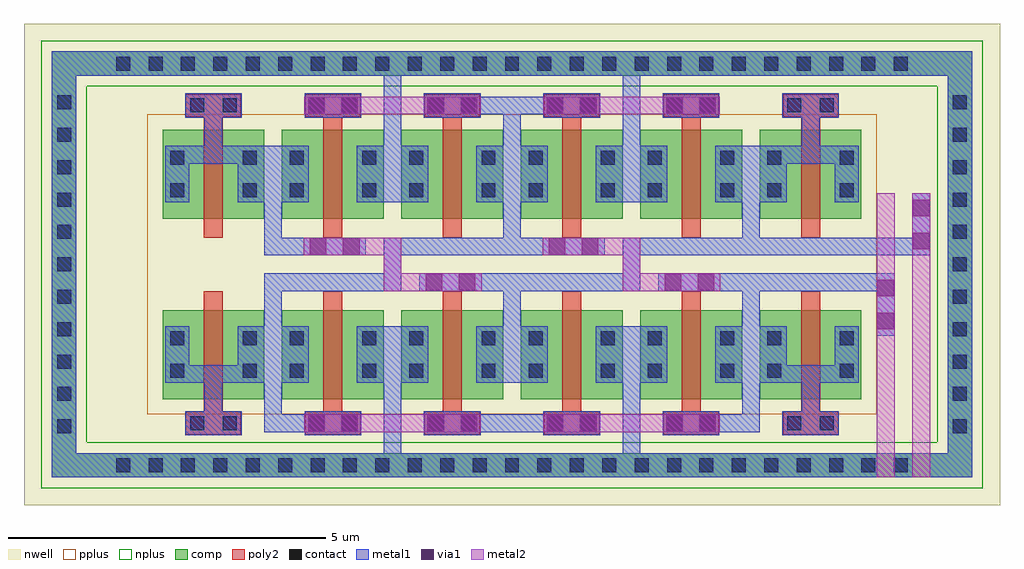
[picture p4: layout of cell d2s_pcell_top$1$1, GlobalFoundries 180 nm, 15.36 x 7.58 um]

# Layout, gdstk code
from math import pi, radians
import gdstk
lib = gdstk.Library(unit=1e-6, precision=5e-09)
def R(c, l, rs):  # rectangles x0, y0, x1, y1
    for r in rs: c.add(gdstk.rectangle(r[:2], r[2:], *l))
def A(c, l, x, y, w, h, nx, ny, dx, dy):  # array of equal rectangles
    R(c, l, [(x+i*dx, y+j*dy, x+i*dx+w, y+j*dy+h) for i in range(nx) for j in range(ny)])
nwell = (21, 0)
comp = (22, 0)
poly2 = (30, 0)
pplus = (31, 0)
nplus = (32, 0)
contact = (33, 0)
metal1 = (34, 0)
via1 = (35, 0)
metal2 = (36, 0)

d2s_pcell_1_1_1_1_1 = lib.new_cell('d2s_pcell_1$1$1$1$1')
R(d2s_pcell_1_1_1_1_1, comp, [(0,0.3,0.46,1.7), (0.46,0.3,1.14,1.7), (1.14,0.3,1.6,1.7)])
R(d2s_pcell_1_1_1_1_1, poly2, [(0.65,0,0.95,2)])
R(d2s_pcell_1_1_1_1_1, contact, [(0.12,0.635,0.34,0.855), (1.26,0.635,1.48,0.855), (0.12,1.145,0.34,1.365), (1.26,1.145,1.48,1.365)])
R(d2s_pcell_1_1_1_1_1, metal1, [(0.04,0.555,0.42,1.445), (1.18,0.555,1.56,1.445)])

d2s_pcell_4_1_1_1 = lib.new_cell('d2s_pcell_4$1$1$1')
A(d2s_pcell_4_1_1_1, poly2, 0.365, 1.9, 0.87, 0.36, 6, 1, 1.88, 0)
R(d2s_pcell_4_1_1_1, contact, [(0.435,1.97,0.655,2.19), (0.945,1.97,1.165,2.19), (2.315,1.97,2.535,2.19), (2.825,1.97,3.045,2.19), (4.195,1.97,4.415,2.19), (4.705,1.97,4.925,2.19), (6.075,1.97,6.295,2.19), (6.585,1.97,6.805,2.19), (7.955,1.97,8.175,2.19), (8.465,1.97,8.685,2.19), (9.835,1.97,10.055,2.19), (10.345,1.97,10.565,2.19)])
A(d2s_pcell_4_1_1_1, metal1, 1.56, 0.555, 0.36, 0.89, 5, 1, 1.88, 0)
A(d2s_pcell_4_1_1_1, metal1, 0.355, 1.89, 0.89, 0.38, 6, 1, 1.88, 0)
R(d2s_pcell_4_1_1_1, via1, [(2.29,1.95,2.55,2.21), (2.81,1.95,3.07,2.21), (4.17,1.95,4.43,2.21), (4.69,1.95,4.95,2.21), (6.05,1.95,6.31,2.21), (6.57,1.95,6.83,2.21), (7.93,1.95,8.19,2.21), (8.45,1.95,8.71,2.21)])
d2s_pcell_4_1_1_1.add(gdstk.FlexPath([(10.2,1.89),(10.2,1.445)], 0.28, ends="flush", simple_path=True, layer=34, datatype=0))  # metal1
d2s_pcell_4_1_1_1.add(gdstk.FlexPath([(9.82,1.305),(10.58,1.305)], 0.28, ends="flush", simple_path=True, layer=34, datatype=0))  # metal1
d2s_pcell_4_1_1_1.add(gdstk.FlexPath([(0.8,1.89),(0.8,1.445)], 0.28, ends="flush", simple_path=True, layer=34, datatype=0))  # metal1
d2s_pcell_4_1_1_1.add(gdstk.FlexPath([(1.18,1.305),(0.42,1.305)], 0.28, ends="flush", simple_path=True, layer=34, datatype=0))  # metal1
d2s_pcell_4_1_1_1.add(gdstk.FlexPath([(5.01,2.08),(2.23,2.08)], 0.28, ends="flush", simple_path=True, layer=36, datatype=0))  # metal2
d2s_pcell_4_1_1_1.add(gdstk.FlexPath([(8.77,2.08),(5.99,2.08)], 0.28, ends="flush", simple_path=True, layer=36, datatype=0))  # metal2
d2s_pcell_4_1_1_1.add(gdstk.Reference(d2s_pcell_1_1_1_1_1, (1.88,0)))
d2s_pcell_4_1_1_1.add(gdstk.Reference(d2s_pcell_1_1_1_1_1, (3.76,0)))
d2s_pcell_4_1_1_1.add(gdstk.Reference(d2s_pcell_1_1_1_1_1, (5.64,0)))
d2s_pcell_4_1_1_1.add(gdstk.Reference(d2s_pcell_1_1_1_1_1, (7.52,0)))
d2s_pcell_4_1_1_1.add(gdstk.Reference(d2s_pcell_1_1_1_1_1, (9.4,0)))
d2s_pcell_4_1_1_1.add(gdstk.Reference(d2s_pcell_1_1_1_1_1, (1.6,0), rotation=pi, x_reflection=True))

d2s_pcell_top_1_1 = lib.new_cell('d2s_pcell_top$1$1')
R(d2s_pcell_top_1_1, nwell, [(0,0,15.36,7.575)])
R(d2s_pcell_top_1_1, pplus, [(1.94,1.43,13.42,6.15)])
A(d2s_pcell_top_1_1, contact, 1.45, 0.52, 0.22, 0.22, 25, 2, 0.51, 6.32)
A(d2s_pcell_top_1_1, contact, 0.52, 1.13, 0.22, 0.22, 1, 11, 0, 0.51)
A(d2s_pcell_top_1_1, contact, 14.62, 1.13, 0.22, 0.22, 1, 11, 0, 0.51)
R(d2s_pcell_top_1_1, via1, [(13.43,2.77,13.69,3.03), (13.43,3.29,13.69,3.55), (6.32,3.38,6.58,3.64), (6.84,3.38,7.1,3.64), (10.08,3.38,10.34,3.64), (10.6,3.38,10.86,3.64), (4.5,3.94,4.76,4.2), (5.02,3.94,5.28,4.2), (8.26,3.94,8.52,4.2), (8.78,3.94,9.04,4.2), (13.99,4.03,14.25,4.29), (13.99,4.55,14.25,4.81)])
d2s_pcell_top_1_1.add(gdstk.FlexPath([(14.73,7.14),(14.73,0.63),(0.63,0.63),(0.63,6.95),(14.54,6.95)], 0.38, ends="flush", simple_path=True, layer=34, datatype=0))  # metal1
d2s_pcell_top_1_1.add(gdstk.FlexPath([(14.12,3.93),(14.12,4.91)], 0.28, ends="flush", simple_path=True, layer=34, datatype=0))  # metal1
d2s_pcell_top_1_1.add(gdstk.FlexPath([(11.58,3.51),(13.7,3.51)], 0.28, ends="flush", simple_path=True, layer=34, datatype=0))  # metal1
d2s_pcell_top_1_1.add(gdstk.FlexPath([(13.56,2.67),(13.56,3.65)], 0.28, ends="flush", simple_path=True, layer=34, datatype=0))  # metal1
d2s_pcell_top_1_1.add(gdstk.FlexPath([(11.58,4.07),(14.17,4.07)], 0.28, ends="flush", simple_path=True, layer=34, datatype=0))  # metal1
d2s_pcell_top_1_1.add(gdstk.FlexPath([(11.44,4.765),(11.44,4.21)], 0.28, ends="flush", simple_path=True, layer=34, datatype=0))  # metal1
d2s_pcell_top_1_1.add(gdstk.FlexPath([(7.68,4.765),(7.68,4.21)], 0.28, ends="flush", simple_path=True, layer=34, datatype=0))  # metal1
d2s_pcell_top_1_1.add(gdstk.FlexPath([(3.92,4.765),(3.92,4.21)], 0.28, ends="flush", simple_path=True, layer=34, datatype=0))  # metal1
d2s_pcell_top_1_1.add(gdstk.FlexPath([(7.2,4.07),(5.8,4.07),(5.8,3.51),(4.4,3.51)], 0.28, ends="flush", simple_path=True, layer=34, datatype=0))  # metal1
d2s_pcell_top_1_1.add(gdstk.FlexPath([(5.38,4.07),(4.4,4.07)], 0.28, ends="flush", simple_path=True, layer=34, datatype=0))  # metal1
d2s_pcell_top_1_1.add(gdstk.FlexPath([(7.2,3.51),(6.22,3.51)], 0.28, ends="flush", simple_path=True, layer=34, datatype=0))  # metal1
d2s_pcell_top_1_1.add(gdstk.FlexPath([(7.2,4.07),(8.16,4.07)], 0.28, ends="flush", simple_path=True, layer=34, datatype=0))  # metal1
d2s_pcell_top_1_1.add(gdstk.FlexPath([(7.2,3.51),(8.16,3.51)], 0.28, ends="flush", simple_path=True, layer=34, datatype=0))  # metal1
d2s_pcell_top_1_1.add(gdstk.FlexPath([(4.4,4.07),(3.78,4.07)], 0.28, ends="flush", simple_path=True, layer=34, datatype=0))  # metal1
d2s_pcell_top_1_1.add(gdstk.FlexPath([(4.4,3.51),(3.78,3.51)], 0.28, ends="flush", simple_path=True, layer=34, datatype=0))  # metal1
d2s_pcell_top_1_1.add(gdstk.FlexPath([(7.68,4.765),(7.68,4.21)], 0.28, ends="flush", simple_path=True, layer=34, datatype=0))  # metal1
d2s_pcell_top_1_1.add(gdstk.FlexPath([(10.96,4.07),(9.56,4.07),(9.56,3.51),(8.16,3.51)], 0.28, ends="flush", simple_path=True, layer=34, datatype=0))  # metal1
d2s_pcell_top_1_1.add(gdstk.FlexPath([(7.68,5.655),(7.68,6.15)], 0.28, ends="flush", simple_path=True, layer=34, datatype=0))  # metal1
d2s_pcell_top_1_1.add(gdstk.FlexPath([(10.945,1.29),(11.44,1.29),(11.44,1.925)], 0.28, ends="flush", simple_path=True, layer=34, datatype=0))  # metal1
d2s_pcell_top_1_1.add(gdstk.FlexPath([(4.415,1.29),(3.92,1.29),(3.92,1.925)], 0.28, ends="flush", simple_path=True, layer=34, datatype=0))  # metal1
d2s_pcell_top_1_1.add(gdstk.FlexPath([(9.14,4.07),(8.16,4.07)], 0.28, ends="flush", simple_path=True, layer=34, datatype=0))  # metal1
d2s_pcell_top_1_1.add(gdstk.FlexPath([(10.96,3.51),(9.98,3.51)], 0.28, ends="flush", simple_path=True, layer=34, datatype=0))  # metal1
d2s_pcell_top_1_1.add(gdstk.FlexPath([(11.58,4.07),(10.96,4.07)], 0.28, ends="flush", simple_path=True, layer=34, datatype=0))  # metal1
d2s_pcell_top_1_1.add(gdstk.FlexPath([(11.58,3.51),(10.96,3.51)], 0.28, ends="flush", simple_path=True, layer=34, datatype=0))  # metal1
d2s_pcell_top_1_1.add(gdstk.FlexPath([(11.44,3.37),(11.44,2.815)], 0.28, ends="flush", simple_path=True, layer=34, datatype=0))  # metal1
d2s_pcell_top_1_1.add(gdstk.FlexPath([(7.68,3.37),(7.68,2.815)], 0.28, ends="flush", simple_path=True, layer=34, datatype=0))  # metal1
d2s_pcell_top_1_1.add(gdstk.FlexPath([(3.92,3.37),(3.92,2.815)], 0.28, ends="flush", simple_path=True, layer=34, datatype=0))  # metal1
d2s_pcell_top_1_1.add(gdstk.FlexPath([(7.68,3.37),(7.68,2.815)], 0.28, ends="flush", simple_path=True, layer=34, datatype=0))  # metal1
d2s_pcell_top_1_1.add(gdstk.FlexPath([(8.175,6.29),(7.185,6.29)], 0.28, ends="flush", simple_path=True, layer=34, datatype=0))  # metal1
d2s_pcell_top_1_1.add(gdstk.FlexPath([(8.175,1.29),(7.185,1.29)], 0.28, ends="flush", simple_path=True, layer=34, datatype=0))  # metal1
d2s_pcell_top_1_1.add(gdstk.FlexPath([(5.8,1.925),(5.8,0.82)], 0.28, ends="flush", simple_path=True, layer=34, datatype=0))  # metal1
d2s_pcell_top_1_1.add(gdstk.FlexPath([(9.56,1.925),(9.56,0.82)], 0.28, ends="flush", simple_path=True, layer=34, datatype=0))  # metal1
d2s_pcell_top_1_1.add(gdstk.FlexPath([(5.8,6.76),(5.8,5.655)], 0.28, ends="flush", simple_path=True, layer=34, datatype=0))  # metal1
d2s_pcell_top_1_1.add(gdstk.FlexPath([(9.56,6.76),(9.56,5.655)], 0.28, ends="flush", simple_path=True, layer=34, datatype=0))  # metal1
d2s_pcell_top_1_1.add(gdstk.FlexPath([(14.73,7.14),(14.73,0.63),(0.63,0.63),(0.63,6.95),(14.54,6.95)], 0.38, ends="flush", simple_path=True, layer=22, datatype=0))  # comp
d2s_pcell_top_1_1.add(gdstk.FlexPath([(14.12,4.91),(14.12,0.44)], 0.28, ends="flush", simple_path=True, layer=36, datatype=0))  # metal2
d2s_pcell_top_1_1.add(gdstk.FlexPath([(13.56,4.91),(13.56,0.44)], 0.28, ends="flush", simple_path=True, layer=36, datatype=0))  # metal2
d2s_pcell_top_1_1.add(gdstk.FlexPath([(10.96,3.51),(9.56,3.51),(9.56,4.07),(8.16,4.07)], 0.28, ends="flush", simple_path=True, layer=36, datatype=0))  # metal2
d2s_pcell_top_1_1.add(gdstk.FlexPath([(7.2,3.51),(5.8,3.51),(5.8,4.07),(4.4,4.07)], 0.28, ends="flush", simple_path=True, layer=36, datatype=0))  # metal2
d2s_pcell_top_1_1.add(gdstk.FlexPath([(14.73,7.14),(14.73,0.63),(0.63,0.63),(0.63,6.95),(15.09,6.95)], 0.72, ends="flush", simple_path=True, layer=32, datatype=0))  # nplus
d2s_pcell_top_1_1.add(gdstk.Reference(d2s_pcell_4_1_1_1, (2.18,4.21)))
d2s_pcell_top_1_1.add(gdstk.Reference(d2s_pcell_4_1_1_1, (2.18,3.37), x_reflection=True))

lib.write_gds('d2s_pcell_top_1_1.gds')
